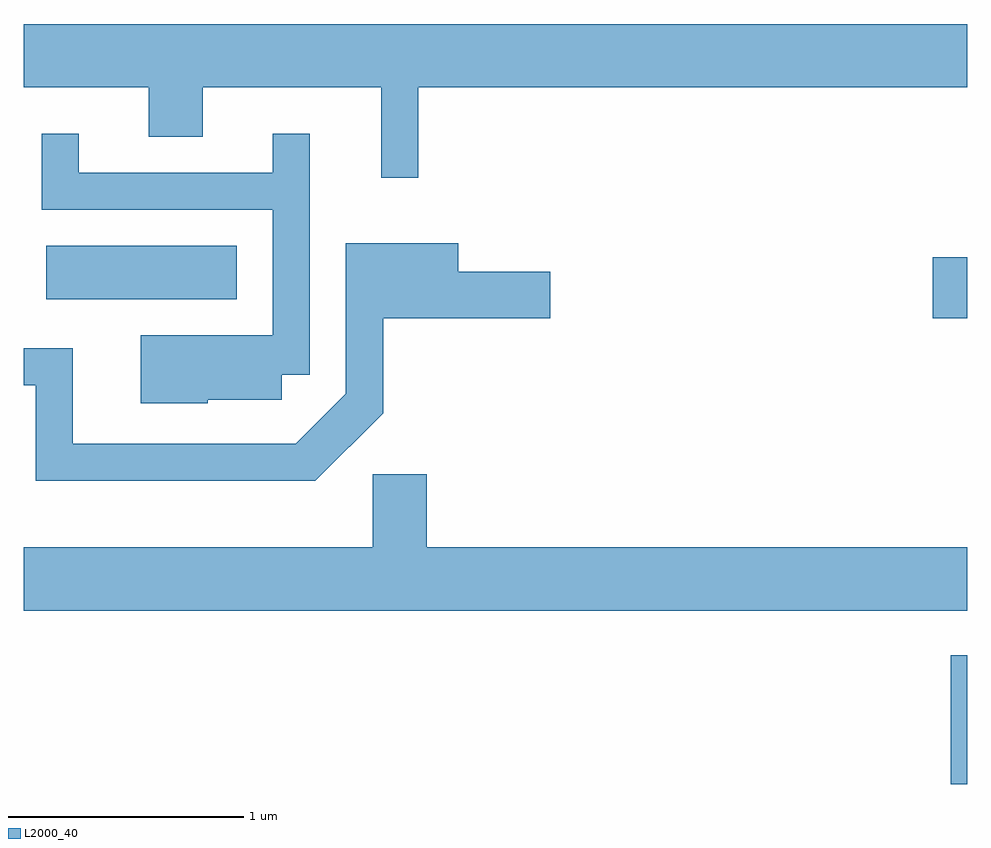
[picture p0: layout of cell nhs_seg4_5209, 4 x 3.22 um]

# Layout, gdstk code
import gdstk
lib = gdstk.Library(unit=1e-6, precision=1e-09)
def R(c, l, rs):  # rectangles x0, y0, x1, y1
    for r in rs: c.add(gdstk.rectangle(r[:2], r[2:], *l))
def P(c, l, *ps):  # polygons
    for p in ps: c.add(gdstk.Polygon(p, *l))
L2000_40 = (2000, 40)

nhs_seg4_5209 = lib.new_cell('nhs_seg4_5209')
R(nhs_seg4_5209, L2000_40, [(341.541,1336.181,341.611,1336.728), (341.466,1338.156,341.611,1338.414), (337.706,1338.236,338.514,1338.464)])
P(nhs_seg4_5209, L2000_40, [(339.284,1339.136),(341.611,1339.136),(341.611,1339.404),(337.611,1339.404),(337.611,1339.136),(338.141,1339.136),(338.141,1338.926),(338.369,1338.926),(338.369,1339.136),(339.126,1339.136),(339.126,1338.753),(339.284,1338.753)],
  [(338.39,1337.811),(338.704,1337.811),(338.704,1337.916),(338.824,1337.916),(338.824,1338.938),(338.666,1338.938),(338.666,1338.774),(337.844,1338.774),(337.844,1338.938),(337.686,1338.938),(337.686,1338.616),(338.666,1338.616),(338.666,1338.084),(338.106,1338.084),(338.106,1337.796),(338.39,1337.796)],
  [(339.134,1337.754),(339.134,1338.156),(339.844,1338.156),(339.844,1338.354),(339.454,1338.354),(339.454,1338.474),(338.976,1338.474),(338.976,1337.837),(338.764,1337.624),(337.819,1337.624),(337.819,1338.029),(337.611,1338.029),(337.611,1337.871),(337.661,1337.871),(337.661,1337.466),(338.847,1337.466)],
  [(341.611,1337.184),(339.319,1337.184),(339.319,1337.494),(339.091,1337.494),(339.091,1337.184),(337.611,1337.184),(337.611,1336.916),(341.611,1336.916)])

lib.write_gds('nhs_seg4_5209.gds')
